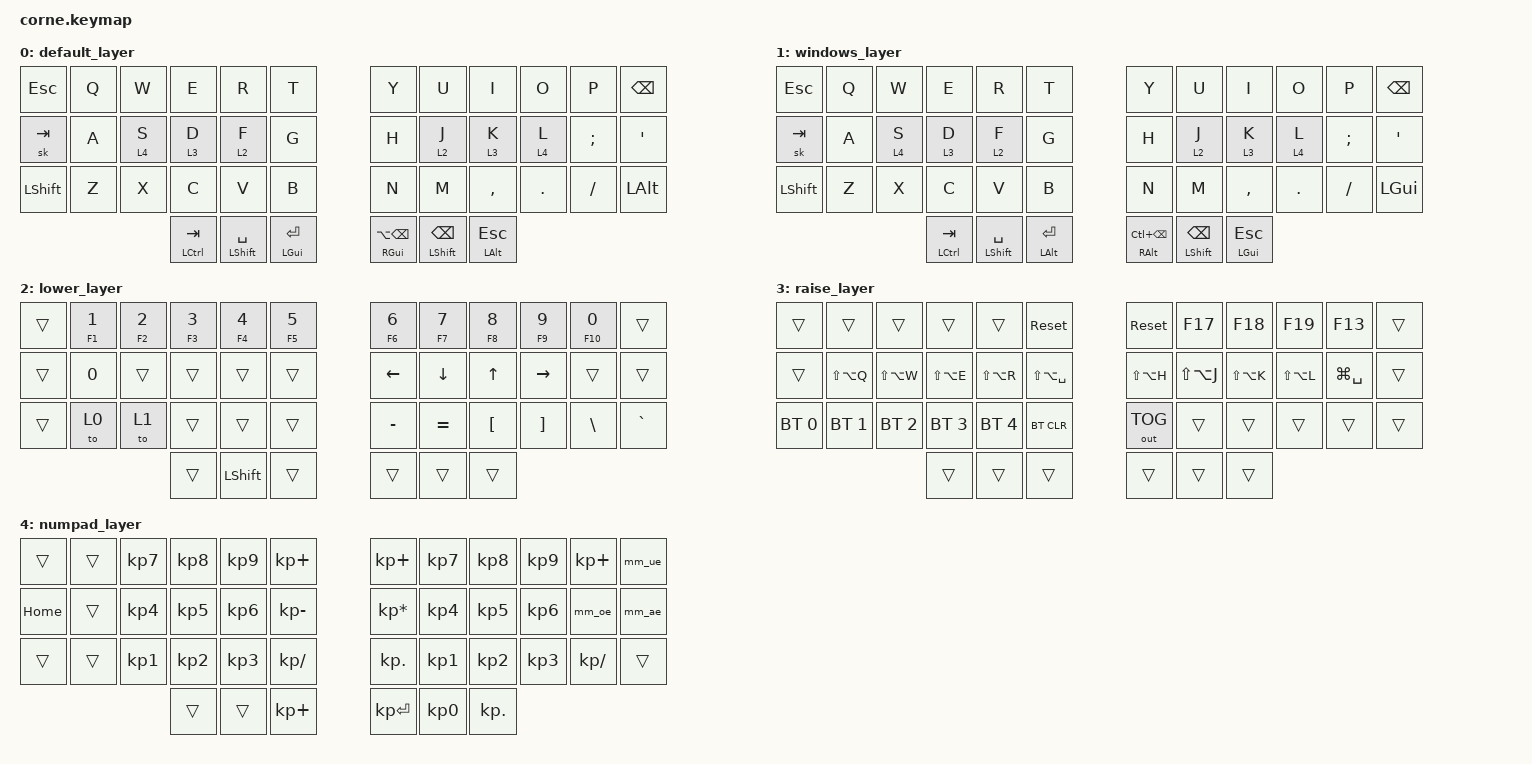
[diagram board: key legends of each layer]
    
    /*
* Copyright (c) 2020 The ZMK Contributors
*
* SPDX-License-Identifier: MIT
*/
#define HOST_OS 2  // macOS/Windows-Alt-Codes mode

#include <behaviors.dtsi>
#include <dt-bindings/zmk/bt.h>
#include <dt-bindings/zmk/keys.h>
#include <dt-bindings/zmk/outputs.h>

/ {
   macros {
       // macOS umlaut input via Option+U dead key then vowel.
       // Shift variant handled by mod-morph in behaviors section.
       uml_a: uml_a {
           compatible = "zmk,behavior-macro";
           #binding-cells = <0>;
           bindings = <&macro_press &kp LALT>,
                      <&macro_tap &kp U>,
                      <&macro_release &kp LALT>,
                      <&macro_tap &kp A>;
       };
       uml_o: uml_o {
           compatible = "zmk,behavior-macro";
           #binding-cells = <0>;
           bindings = <&macro_press &kp LALT>,
                      <&macro_tap &kp U>,
                      <&macro_release &kp LALT>,
                      <&macro_tap &kp O>;
       };
       uml_u: uml_u {
           compatible = "zmk,behavior-macro";
           #binding-cells = <0>;
           bindings = <&macro_press &kp LALT>,
                      <&macro_tap &kp U>,
                      <&macro_release &kp LALT>,
                      <&macro_tap &kp U>;
       };
       uml_ae_cap: uml_ae_cap {
           compatible = "zmk,behavior-macro";
           #binding-cells = <0>;
           bindings = <&macro_press &kp LALT>,
                      <&macro_tap &kp U>,
                      <&macro_release &kp LALT>,
                      <&macro_tap &kp LS(A)>;
       };
       uml_oe_cap: uml_oe_cap {
           compatible = "zmk,behavior-macro";
           #binding-cells = <0>;
           bindings = <&macro_press &kp LALT>,
                      <&macro_tap &kp U>,
                      <&macro_release &kp LALT>,
                      <&macro_tap &kp LS(O)>;
       };
       uml_ue_cap: uml_ue_cap {
           compatible = "zmk,behavior-macro";
           #binding-cells = <0>;
           bindings = <&macro_press &kp LALT>,
                      <&macro_tap &kp U>,
                      <&macro_release &kp LALT>,
                      <&macro_tap &kp LS(U)>;
       };
   };

   behaviors {
       // Tap-preferred hold-tap for homerow layer triggers.
       // 150ms tapping term keeps it responsive without accidental holds.
       hm: homerow_mods {
           compatible = "zmk,behavior-hold-tap";
           #binding-cells = <2>;
           tapping-term-ms = <150>;
           quick-tap-ms = <0>;
           flavor = "tap-preferred";
           bindings = <&kp>, <&kp>;
       };

       // Umlauts on Swiss keyboard positions: ' = ä, ; = ö, [ = ü.
       // Tap = lowercase, Shift+tap = uppercase via mod-morph.
       mm_ae: mm_ae {
           compatible = "zmk,behavior-mod-morph";
           #binding-cells = <0>;
           bindings = <&uml_a>, <&uml_ae_cap>;
           mods = <(MOD_LSFT|MOD_RSFT)>;
       };
       mm_oe: mm_oe {
           compatible = "zmk,behavior-mod-morph";
           #binding-cells = <0>;
           bindings = <&uml_o>, <&uml_oe_cap>;
           mods = <(MOD_LSFT|MOD_RSFT)>;
       };
       mm_ue: mm_ue {
           compatible = "zmk,behavior-mod-morph";
           #binding-cells = <0>;
           bindings = <&uml_u>, <&uml_ue_cap>;
           mods = <(MOD_LSFT|MOD_RSFT)>;
       };
   };

   combos {
       compatible = "zmk,combos";
       // Both inner GUI thumbs simultaneously = Globe/Fn key.
       // Used for iPad Full Keyboard Access chords (Globe+key).
       // Tab is sticky on left pinky for Tab+key FKA chords.
       combo_fn {
           bindings = <&kp GLOBE>;
           key-positions = <38 39>;
           timeout-ms = <50>;
       };
   };

   keymap {
       compatible = "zmk,keymap";

       default_layer {  // 0 — macOS
           // Left pinky = sticky Tab for iPad FKA chords (Tab+H, Tab+M etc.)
           // without needing a dedicated FKA layer.
           // Layer switches: S/L = numpad (4), D/K = raise (3), F/J = lower (2).
           // OS switch moved to lower layer row 3.
           bindings = <
           // ├─────────┼─────────┼─────────┼─────────┼─────────┼─────────┤   ├─────────┼─────────┼─────────┼─────────┼─────────┼─────────┤
               &kp ESC   &kp Q     &kp W     &kp E     &kp R     &kp T         &kp Y     &kp U     &kp I     &kp O     &kp P     &kp BSPC
           // ├─────────┼─────────┼─────────┼─────────┼─────────┼─────────┤   ├─────────┼─────────┼─────────┼─────────┼─────────┼─────────┤
               &sk TAB   &kp A     &lt 4 S   &lt 3 D   &lt 2 F   &kp G         &kp H     &lt 2 J   &lt 3 K   &lt 4 L   &kp SEMI  &kp SQT
           // ├─────────┼─────────┼─────────┼─────────┼─────────┼─────────┤   ├─────────┼─────────┼─────────┼─────────┼─────────┼─────────┤
               &kp LSHFT &kp Z     &kp X     &kp C     &kp V     &kp B         &kp N     &kp M     &kp COMMA &kp DOT   &kp FSLH  &kp LEFT_ALT
           // ├─────────┼─────────┼─────────┼─────────┼─────────┼─────────┤   ├─────────┼─────────┼─────────┼─────────┼─────────┼─────────┤
                               &hm LCTRL TAB &hm LSHFT SPACE &hm LGUI RET     &hm RGUI LA(BSPC) &hm LSHFT BSPC &hm LEFT_ALT ESC
           >;
       };

       windows_layer {  // 1 — Windows
           // GUI and Alt swapped vs macOS to match Windows conventions.
           // Word-delete uses LC(BSPC) instead of LA(BSPC).
           // Right pinky bottom = Win key instead of LEFT_ALT.
           bindings = <
           // ├─────────┼─────────┼─────────┼─────────┼─────────┼─────────┤   ├─────────┼─────────┼─────────┼─────────┼─────────┼─────────┤
               &kp ESC   &kp Q     &kp W     &kp E     &kp R     &kp T         &kp Y     &kp U     &kp I     &kp O     &kp P     &kp BSPC
           // ├─────────┼─────────┼─────────┼─────────┼─────────┼─────────┤   ├─────────┼─────────┼─────────┼─────────┼─────────┼─────────┤
               &sk TAB   &kp A     &lt 4 S   &lt 3 D   &lt 2 F   &kp G         &kp H     &lt 2 J   &lt 3 K   &lt 4 L   &kp SEMI  &kp SQT
           // ├─────────┼─────────┼─────────┼─────────┼─────────┼─────────┤   ├─────────┼─────────┼─────────┼─────────┼─────────┼─────────┤
               &kp LSHFT &kp Z     &kp X     &kp C     &kp V     &kp B         &kp N     &kp M     &kp COMMA &kp DOT   &kp FSLH  &kp LGUI
           // ├─────────┼─────────┼─────────┼─────────┼─────────┼─────────┤   ├─────────┼─────────┼─────────┼─────────┼─────────┼─────────┤
                               &hm LCTRL TAB &hm LSHFT SPACE &hm LALT RET     &hm RALT LC(BSPC) &hm LSHFT BSPC &hm LGUI ESC
           >;
       };

       lower_layer {  // 2 — Numbers / Arrows / OS switch
           // Top row: numbers with hold-for-Fkey (e.g. hold 1 = F1).
           // Middle row: arrow keys on right hand HJKL-style.
           // Bottom row left: OS switch (A=Apple/macOS, S=Switch to Windows).
           // Bottom row right: symbols matching standard keyboard positions.
           bindings = <
           // ├─────────┼─────────┼─────────┼─────────┼─────────┼─────────┤   ├─────────┼─────────┼─────────┼─────────┼──────────┼─────────┤
               &trans    &mt F1 N1 &mt F2 N2 &mt F3 N3 &mt F4 N4 &mt F5 N5     &mt F6 N6 &mt F7 N7 &mt F8 N8 &mt F9 N9 &mt F10 N0 &trans
           // ├─────────┼─────────┼─────────┼─────────┼─────────┼─────────┤   ├─────────┼─────────┼─────────┼─────────┼──────────┼─────────┤
               &trans    &kp N0    &trans    &trans    &trans    &trans          &kp LEFT  &kp DOWN  &kp UP    &kp RIGHT &trans     &trans
           // ├─────────┼─────────┼─────────┼─────────┼─────────┼─────────┤   ├─────────┼─────────┼─────────┼─────────┼──────────┼─────────┤
               &trans    &to 0     &to 1     &trans    &trans    &trans          &kp MINUS &kp EQUAL &kp LBKT  &kp RBKT  &kp BSLH   &kp GRAVE
           // ├─────────┼─────────┼─────────┼─────────┼─────────┼─────────┤   ├─────────┼─────────┼─────────┼─────────┼──────────┼─────────┤
                                             &trans    &kp LSHFT &trans          &trans    &trans    &trans
           >;
       };

       raise_layer {  // 3 — Screen / Window Manager
           // Left home row: window manager shortcuts (Shift+Alt+key).
           // Right top row: F-keys for display/mission control triggers.
           // Left bottom row: Bluetooth device selection and clear.
           // Right bottom: output toggle (USB/BT).
           bindings = <
           // ├─────────┼─────────────┼─────────────┼─────────────┼─────────────┼─────────────┤   ├─────────────┼─────────────┼─────────────┼─────────────┼─────────────┼─────────┤
               &trans    &trans        &trans        &trans        &trans        &sys_reset          &sys_reset    &kp F17       &kp F18       &kp F19       &kp F13       &trans
           // ├─────────┼─────────────┼─────────────┼─────────────┼─────────────┼─────────────┤   ├─────────────┼─────────────┼─────────────┼─────────────┼─────────────┼─────────┤
               &trans    &kp LS(LA(Q)) &kp LS(LA(W)) &kp LS(LA(E)) &kp LS(LA(R)) &kp LS(LA(SPACE)) &kp LS(LA(H)) &kp LS(LA(J)) &kp LS(LA(K)) &kp LS(LA(L)) &kp LG(SPACE) &trans
           // ├─────────┼─────────────┼─────────────┼─────────────┼─────────────┼─────────────┤   ├─────────────┼─────────────┼─────────────┼─────────────┼─────────────┼─────────┤
             &bt BT_SEL 0 &bt BT_SEL 1 &bt BT_SEL 2  &bt BT_SEL 3  &bt BT_SEL 4  &bt BT_CLR        &out OUT_TOG  &trans        &trans        &trans        &trans        &trans
           // ├─────────┼─────────────┼─────────────┼─────────────┼─────────────┼─────────────┤   ├─────────────┼─────────────┼─────────────┼─────────────┼─────────────┼─────────┤
                                                     &trans        &trans        &trans              &trans        &trans        &trans
           >;
       };

       numpad_layer {  // 4 — Numpad + Swiss Umlauts
           // Activated by holding S (left hand) or L (right hand).
           // The hold key itself is dead on its own side but reachable
           // by the opposite hand — so S position outputs 5 when holding L,
           // and L position outputs 5 when holding S.
           // Umlauts on right hand, Swiss keyboard positions:
           //   '  = ä/Ä,  ;  = ö/Ö,  [  = ü/Ü  (shift via mod-morph)
           bindings = <
           // ├─────────┼─────────┼─────────┼─────────┼─────────┼─────────┤   ├─────────┼─────────┼─────────┼─────────┼─────────┼─────────┤
               &trans    &trans    &kp KP_N7 &kp KP_N8 &kp KP_N9 &kp KP_PLUS   &kp KP_PLUS &kp KP_N7 &kp KP_N8 &kp KP_N9 &kp KP_PLUS &mm_ue
           // ├─────────┼─────────┼─────────┼─────────┼─────────┼─────────┤   ├─────────┼─────────┼─────────┼─────────┼─────────┼─────────┤
               &kp HOME  &trans    &kp KP_N4 &kp KP_N5 &kp KP_N6 &kp KP_MINUS  &kp KP_ASTERISK &kp KP_N4 &kp KP_N5 &kp KP_N6 &mm_oe &mm_ae
           // ├─────────┼─────────┼─────────┼─────────┼─────────┼─────────┤   ├─────────┼─────────┼─────────┼─────────┼─────────┼─────────┤
               &trans    &trans    &kp KP_N1 &kp KP_N2 &kp KP_N3 &kp KP_SLASH  &kp KP_DOT &kp KP_N1 &kp KP_N2 &kp KP_N3 &kp KP_SLASH &trans
           // ├─────────┼─────────┼─────────┼─────────┼─────────┼─────────┤   ├─────────┼─────────┼─────────┼─────────┼─────────┼─────────┤
                                             &trans    &trans    &kp KP_PLUS    &kp KP_ENTER &kp KP_N0 &kp KP_DOT
           >;
       };
   };
};
